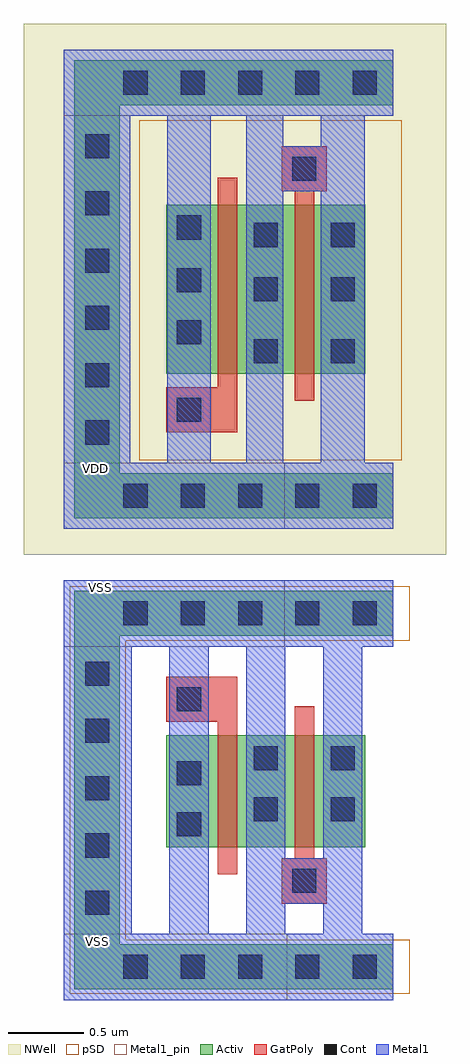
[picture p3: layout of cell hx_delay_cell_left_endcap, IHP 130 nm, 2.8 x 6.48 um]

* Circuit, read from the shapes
.subckt hx_delay_cell_left_endcap VDD VSS
XM1 VSS VSS VSS VSS sg13_lv_nmos w=0.74u l=0.13u m=2
XM2 VDD VDD VDD VDD sg13_lv_pmos w=1.12u l=0.13u m=2
.ends

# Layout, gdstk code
import gdstk
lib = gdstk.Library(unit=1e-6, precision=1e-09)
def R(c, l, rs):  # rectangles x0, y0, x1, y1
    for r in rs: c.add(gdstk.rectangle(r[:2], r[2:], *l))
def A(c, l, x, y, w, h, nx, ny, dx, dy):  # array of equal rectangles
    R(c, l, [(x+i*dx, y+j*dy, x+i*dx+w, y+j*dy+h) for i in range(nx) for j in range(ny)])
def P(c, l, *ps):  # polygons
    for p in ps: c.add(gdstk.Polygon(p, *l))
Activ = (1, 0)
GatPoly = (5, 0)
Cont = (6, 0)
Metal1 = (8, 0)
Metal1_pin = (8, 2)
pSD = (14, 0)
NWell = (31, 0)

hx_delay_cell_left_endca = lib.new_cell('hx_delay_cell_left_endcap')
R(hx_delay_cell_left_endca, Activ, [(0.61,0.795,1.93,1.535), (0.61,3.935,1.93,5.055)])
P(hx_delay_cell_left_endca, Activ, [(0,2.975),(0,6.015),(2.115,6.015),(2.115,5.715),(0.3,5.715),(0.3,3.275),(2.115,3.275),(2.115,2.975)],
  [(0,-0.15),(0,2.495),(2.115,2.495),(2.115,2.195),(0.3,2.195),(0.3,0.15),(2.115,0.15),(2.115,-0.15)])
P(hx_delay_cell_left_endca, GatPoly, [(0.61,3.545),(0.61,3.845),(0.95,3.845),(0.95,5.235),(1.08,5.235),(1.08,3.545)],
  [(1.46,3.755),(1.46,5.145),(1.375,5.145),(1.375,5.445),(1.675,5.445),(1.675,5.145),(1.59,5.145),(1.59,3.755)],
  [(1.375,0.42),(1.375,0.72),(1.46,0.72),(1.46,1.73),(1.59,1.73),(1.59,0.72),(1.675,0.72),(1.675,0.42)],
  [(0.95,0.615),(0.95,1.625),(0.61,1.625),(0.61,1.925),(1.08,1.925),(1.08,0.615)])
A(hx_delay_cell_left_endca, Cont, 0.325, -0.08, 0.16, 0.16, 5, 2, 0.38, 2.345)
A(hx_delay_cell_left_endca, Cont, 0.07, 0.345, 0.16, 0.16, 1, 5, 0, 0.38)
A(hx_delay_cell_left_endca, Cont, 0.325, 3.045, 0.16, 0.16, 5, 2, 0.38, 2.74)
A(hx_delay_cell_left_endca, Cont, 0.07, 3.465, 0.16, 0.16, 1, 6, 0, 0.38)
R(hx_delay_cell_left_endca, Cont, [(1.445,0.49,1.605,0.65), (0.68,0.865,0.84,1.025), (1.19,0.965,1.35,1.125), (1.7,0.965,1.86,1.125), (0.68,1.205,0.84,1.365), (1.19,1.305,1.35,1.465), (1.7,1.305,1.86,1.465), (0.68,1.695,0.84,1.855), (0.68,3.615,0.84,3.775), (1.19,4.005,1.35,4.165), (1.7,4.005,1.86,4.165), (0.68,4.13,0.84,4.29), (1.19,4.415,1.35,4.575), (1.7,4.415,1.86,4.575), (0.68,4.475,0.84,4.635), (1.19,4.775,1.35,4.935), (1.7,4.775,1.86,4.935), (0.68,4.825,0.84,4.985), (1.445,5.215,1.605,5.375)])
R(hx_delay_cell_left_endca, Metal1, [(0.63,0.22,0.89,2.125), (0.615,3.345,0.905,5.645)])
P(hx_delay_cell_left_endca, Metal1, [(-0.07,2.905),(-0.07,6.085),(2.115,6.085),(2.115,5.645),(0.37,5.645),(0.37,3.345),(2.115,3.345),(2.115,2.905)],
  [(1.14,3.345),(1.14,5.645),(1.385,5.645),(1.385,5.445),(1.635,5.445),(1.635,5.645),(1.925,5.645),(1.925,3.345),(1.635,3.345),(1.635,5.145),(1.385,5.145),(1.385,3.345)],
  [(1.14,0.22),(1.14,2.125),(1.4,2.125),(1.4,0.72),(1.65,0.72),(1.65,2.125),(1.91,2.125),(1.91,0.22),(1.65,0.22),(1.65,0.42),(1.4,0.42),(1.4,0.22)],
  [(-0.07,-0.22),(-0.07,2.565),(2.115,2.565),(2.115,2.125),(0.38,2.125),(0.38,0.22),(2.115,0.22),(2.115,-0.22)])
R(hx_delay_cell_left_endca, Metal1_pin, [(-0.07,-0.22,1.41,0.22), (-0.07,2.125,1.395,2.565), (-0.07,2.905,1.395,3.345), (-0.07,5.645,2.115,6.085)])
R(hx_delay_cell_left_endca, pSD, [(0.43,3.36,2.17,5.615)])
P(hx_delay_cell_left_endca, pSD, [(-0.03,-0.18),(-0.03,2.525),(2.225,2.525),(2.225,2.165),(0.34,2.165),(0.34,0.18),(2.225,0.18),(2.225,-0.18)])
R(hx_delay_cell_left_endca, NWell, [(-0.335,2.735,2.465,6.255)])
hx_delay_cell_left_endca.add(gdstk.Label('VSS', (0.15,0.17), layer=8, texttype=25))
hx_delay_cell_left_endca.add(gdstk.Label('VDD', (0.14,3.305), layer=8, texttype=25))
hx_delay_cell_left_endca.add(gdstk.Label('VSS', (0.175,2.515), layer=8, texttype=25))

lib.write_gds('hx_delay_cell_left_endcap.gds')
